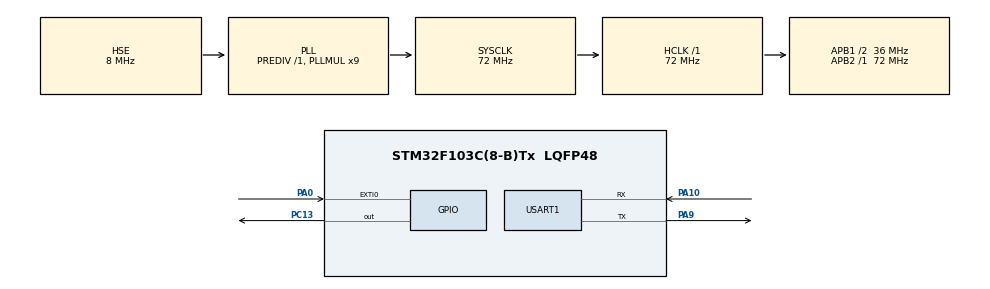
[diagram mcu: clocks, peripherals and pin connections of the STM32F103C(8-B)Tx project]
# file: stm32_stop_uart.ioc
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Dma.Request0=USART1_RX
Dma.USART1_RX.0.Direction=DMA_PERIPH_TO_MEMORY
Dma.USART1_RX.0.Instance=DMA1_Channel5
Dma.USART1_RX.0.MemDataAlignment=DMA_MDATAALIGN_BYTE
Dma.USART1_RX.0.MemInc=DMA_MINC_ENABLE
Dma.USART1_RX.0.Mode=DMA_NORMAL
Dma.USART1_RX.0.PeriphDataAlignment=DMA_PDATAALIGN_BYTE
Dma.USART1_RX.0.PeriphInc=DMA_PINC_DISABLE
Dma.USART1_RX.0.Priority=DMA_PRIORITY_LOW
Mcu.Family=STM32F1
Mcu.Name=STM32F103C(8-B)Tx
Mcu.Package=LQFP48
NVIC.DMA1_Channel5_IRQn=true\:0\:0\:false\:false\:true\:false\:true
NVIC.EXTI0_IRQn=true\:0\:0\:false\:false\:true\:true\:true
NVIC.PriorityGroup=NVIC_PRIORITYGROUP_4
NVIC.USART1_IRQn=true\:0\:0\:false\:false\:true\:true\:true
PA0-WKUP.GPIO_ModeDefaultEXTI=GPIO_MODE_IT_FALLING
PA0-WKUP.GPIO_PuPd=GPIO_PULLUP
PA0-WKUP.Signal=GPXTI0
PA10.Mode=Asynchronous
PA10.Signal=USART1_RX
PA13.Mode=Serial_Wire
PA13.Signal=SYS_JTMS-SWDIO
PA14.Mode=Serial_Wire
PA14.Signal=SYS_JTCK-SWCLK
PA9.Mode=Asynchronous
PA9.Signal=USART1_TX
PC13-TAMPER-RTC.GPIO_PuPd=GPIO_PULLUP
PC13-TAMPER-RTC.Signal=GPIO_Output
PD0-OSC_IN.Mode=HSE-External-Oscillator
PD0-OSC_IN.Signal=RCC_OSC_IN
PD1-OSC_OUT.Mode=HSE-External-Oscillator
PD1-OSC_OUT.Signal=RCC_OSC_OUT
ProjectManager.HeapSize=0x200
ProjectManager.StackSize=0x400
ProjectManager.TargetToolchain=MDK-ARM V5.27
RCC.AHBFreq_Value=72000000
RCC.APB1CLKDivider=RCC_HCLK_DIV2
RCC.APB1Freq_Value=36000000
RCC.APB1TimFreq_Value=72000000
RCC.APB2Freq_Value=72000000
RCC.APB2TimFreq_Value=72000000
RCC.HCLKFreq_Value=72000000
RCC.PLLMUL=RCC_PLL_MUL9
RCC.PLLSourceVirtual=RCC_PLLSOURCE_HSE
RCC.SYSCLKFreq_VALUE=72000000
RCC.SYSCLKSource=RCC_SYSCLKSOURCE_PLLCLK
RCC.USBFreq_Value=72000000
USART1.VirtualMode=VM_ASYNC
board=custom

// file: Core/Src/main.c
/* USER CODE BEGIN Header */
/**
  ******************************************************************************
  * @file           : main.c
  * @brief          : Main program body
  ******************************************************************************
  * @attention
  *
  * <h2><center>&copy; Copyright (c) 2021 STMicroelectronics.
  * All rights reserved.</center></h2>
  *
  * This software component is licensed by ST under BSD 3-Clause license,
  * the "License"; You may not use this file except in compliance with the
  * License. You may obtain a copy of the License at:
  *                        opensource.org/licenses/BSD-3-Clause
  *
  ******************************************************************************
  */
/* USER CODE END Header */
#include "main.h"
#include "dma.h"
#include "usart.h"
#include "gpio.h"

void SystemClock_Config(void);

/* USER CODE BEGIN 0 */

uint8_t Rx_data[10];

void HAL_GPIO_EXTI_Callback(uint16_t GPIO_Pin)
{
	if (GPIO_Pin == GPIO_PIN_10)
	{
		HAL_GPIO_DeInit(GPIOA, GPIO_PIN_10);
		SystemClock_Config();
		HAL_ResumeTick();
		HAL_NVIC_DisableIRQ(EXTI15_10_IRQn);
		char *str = "WAKEUP FROM EXIT UART rx\r\n";
		HAL_UART_Transmit(&huart1, str, strlen(str), HAL_MAX_DELAY);
	}
}

void HAL_UART_RxCpltCallback(UART_HandleTypeDef *huart)
{
    char *str = "WAKEUP FROM EXIT UART rx\r\n";
    HAL_UART_Transmit(&huart1, str, strlen(str), HAL_MAX_DELAY);
  if (huart)
  {

  }
}

void Blink_Fast()
{
	for(int i=0; i<50; i++)
	{
		HAL_GPIO_TogglePin(GPIOC, GPIO_PIN_13);
		HAL_Delay(20);
	}
}

void Blink_Slow()
{
	for(int i=0; i<10; i++)
	{
		HAL_GPIO_TogglePin(GPIOC, GPIO_PIN_13);
		HAL_Delay(200);
	}
}

void Enable_UARTRx_IT()
{

	//__HAL_RCC_USART1_CLK_DISABLE();
	//HAL_GPIO_DeInit(GPIOA, GPIO_PIN_9|GPIO_PIN_10);
	GPIO_InitTypeDef GPIO_InitStruct = {0};

	GPIO_InitStruct.Pin = GPIO_PIN_10;
  GPIO_InitStruct.Mode = GPIO_MODE_IT_FALLING;
  GPIO_InitStruct.Pull = GPIO_PULLUP;
  HAL_GPIO_Init(GPIOA, &GPIO_InitStruct);

	HAL_NVIC_SetPriority(EXTI15_10_IRQn, 0, 0);
  HAL_NVIC_EnableIRQ(EXTI15_10_IRQn);
}

void Go_Stop_Mode()
{

	Enable_UARTRx_IT();
	HAL_SuspendTick();
	HAL_PWR_EnterSTOPMode(PWR_LOWPOWERREGULATOR_ON, PWR_STOPENTRY_WFI);

}

void Resume_GPIO()
{
		GPIO_InitTypeDef GPIO_InitStruct = {0};
		GPIO_InitStruct.Pin = GPIO_PIN_10;
		GPIO_InitStruct.Mode = GPIO_MODE_ANALOG;
		HAL_GPIO_Init(GPIOA, &GPIO_InitStruct);

		MX_USART1_UART_Init();
}

/* USER CODE END 0 */

int main(void)
{

  /* MCU Configuration--------------------------------------------------------*/

  /* Reset of all peripherals, Initializes the Flash interface and the Systick. */
  HAL_Init();

  /* Configure the system clock */
  SystemClock_Config();

  /* Initialize all configured peripherals */
  MX_GPIO_Init();
  MX_DMA_Init();
  MX_USART1_UART_Init();
  /* USER CODE BEGIN 2 */

	HAL_Delay(200);
	HAL_UART_Transmit(&huart1, "main\r\n", 6, HAL_MAX_DELAY);
  /* USER CODE END 2 */

  /* Infinite loop */
  while (1)
  {

    /* USER CODE BEGIN 3 */
		//HAL_UART_Receive(&huart1, Rx_data, 4, 100);
		Blink_Fast();
		Go_Stop_Mode();
		Resume_GPIO();
		HAL_Delay(10);
		Blink_Slow();
  }
  /* USER CODE END 3 */
}

void SystemClock_Config(void)
{
  RCC_OscInitTypeDef RCC_OscInitStruct = {0};
  RCC_ClkInitTypeDef RCC_ClkInitStruct = {0};

  /** Initializes the RCC Oscillators according to the specified parameters
  * in the RCC_OscInitTypeDef structure.
  */
  RCC_OscInitStruct.OscillatorType = RCC_OSCILLATORTYPE_HSE;
  RCC_OscInitStruct.HSEState = RCC_HSE_ON;
  RCC_OscInitStruct.HSEPredivValue = RCC_HSE_PREDIV_DIV1;
  RCC_OscInitStruct.HSIState = RCC_HSI_ON;
  RCC_OscInitStruct.PLL.PLLState = RCC_PLL_ON;
  RCC_OscInitStruct.PLL.PLLSource = RCC_PLLSOURCE_HSE;
  RCC_OscInitStruct.PLL.PLLMUL = RCC_PLL_MUL9;
  if (HAL_RCC_OscConfig(&RCC_OscInitStruct) != HAL_OK)
  {
    Error_Handler();
  }
  /** Initializes the CPU, AHB and APB buses clocks
  */
  RCC_ClkInitStruct.ClockType = RCC_CLOCKTYPE_HCLK|RCC_CLOCKTYPE_SYSCLK
                              |RCC_CLOCKTYPE_PCLK1|RCC_CLOCKTYPE_PCLK2;
  RCC_ClkInitStruct.SYSCLKSource = RCC_SYSCLKSOURCE_PLLCLK;
  RCC_ClkInitStruct.AHBCLKDivider = RCC_SYSCLK_DIV1;
  RCC_ClkInitStruct.APB1CLKDivider = RCC_HCLK_DIV2;
  RCC_ClkInitStruct.APB2CLKDivider = RCC_HCLK_DIV1;

  if (HAL_RCC_ClockConfig(&RCC_ClkInitStruct, FLASH_LATENCY_2) != HAL_OK)
  {
    Error_Handler();
  }
}

void Error_Handler(void)
{
  __disable_irq();
  while (1)
  {
  }
}

/************************ (C) COPYRIGHT STMicroelectronics *****END OF FILE****/
